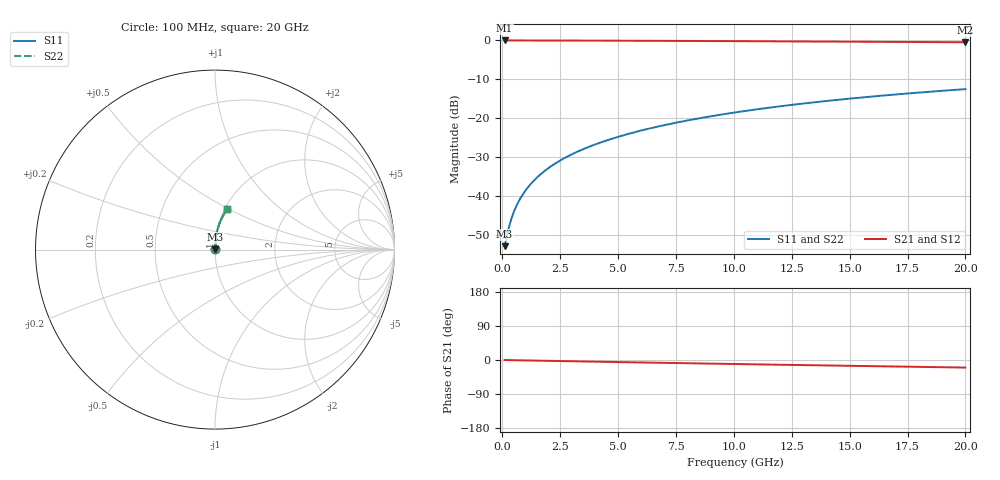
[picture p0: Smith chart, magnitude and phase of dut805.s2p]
! Touchstone file exported from HFSS 2024.1.0
!  File:  C:/UserFiles/LocalFiles/RDL_TSV_Batchsim/temp_RDL_bottom_805_1779862114.aedt
!  Generated:  02:11:19 PM May 27, 2026
!  Design:  RDL_bottom
!  Project:  temp_RDL_bottom_805_1779862114
!  Setup:  Setup1
!  Solution:  Sweep
! Variables:
!  dtsv = 10.80580581um
!  hbump = 3um
!  htsv = 86.69um
!  ldown = 234.14um
!  lrdl = 100um
!  p = 40
!  p1 = 47.38um
!  rhole = 1um
!  t = 450um
!  tdown = 2.91um
!  trdl = 3.915915916um
!  wdown = 17.18um
!  wrdl = 20um
# GHz S MA R 50.000000
! Terminal data exported
! Port[1] = RDL1_T1
! Port[2] = RDL1_T2
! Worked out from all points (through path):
!   200 points, 100 MHz to 20 GHz, reference 50 ohm
!   highest |S21| = -0.02 dB at 100 MHz (marker M1); lowest = -0.5 dB at 20 GHz (marker M2)
!   group delay of S21, straight-line fit = 2.76 ps
!   lowest |S11| = -53.0 dB at 100 MHz (marker M3), VSWR 1.00, Z = 50.2 + j0.12 ohm
!   |S11| at or under -10 dB: start of sweep to end of sweep
!   |S22| runs from -53.0 to -12.6 dB; largest |S21 - S12| = 2.7e-15
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0.1  0.002239 32.4  0.9981 -0.1  0.9981 -0.1  0.002239 32.4
! Gamma 0 0 0 0
! Port Impedance 50 0 50 0
0.2  0.003067 51.0  0.9981 -0.2  0.9981 -0.2  0.003067 51.0
0.3  0.004066 60.8  0.998 -0.3  0.998 -0.3  0.004066 60.8
0.4  0.005122 66.6  0.9979 -0.5  0.9979 -0.5  0.005122 66.6
0.5  0.006197 70.3  0.9979 -0.6  0.9979 -0.6  0.006197 70.3
0.6  0.00728 72.9  0.9978 -0.7  0.9978 -0.7  0.00728 72.9
0.8  0.009455 76.4  0.9976 -0.9  0.9976 -0.9  0.009455 76.4
1.1  0.01274 79.5  0.9974 -1.2  0.9974 -1.2  0.01274 79.5
1.3  0.01495 80.8  0.9973 -1.5  0.9973 -1.5  0.01495 80.8
1.6  0.01828 82.2  0.997 -1.8  0.997 -1.8  0.01828 82.2
2.1  0.02388 83.7  0.9965 -2.3  0.9965 -2.3  0.02388 83.7
2.7  0.03066 84.7  0.9958 -3.0  0.9958 -3.0  0.03066 84.6
3.5  0.03981 85.3  0.9946 -3.9  0.9946 -3.9  0.03981 85.3
4.2  0.04791 85.4  0.9933 -4.6  0.9933 -4.6  0.0479 85.4
5  0.05726 85.4  0.9916 -5.5  0.9916 -5.5  0.05726 85.4
5.9  0.06791 85.2  0.9896 -6.4  0.9896 -6.4  0.06791 85.2
6.8  0.07866 84.8  0.9873 -7.4  0.9873 -7.4  0.07866 84.7
8.3  0.09676 83.8  0.9833 -8.9  0.9833 -8.9  0.09676 83.8
10.1  0.1186 82.4  0.9781 -10.7  0.9781 -10.7  0.1186 82.4
13.4  0.1586 79.5  0.968 -13.9  0.968 -13.9  0.1586 79.5
16.7  0.1978 76.3  0.9573 -17.0  0.9573 -17.0  0.1978 76.3
20  0.2357 73.1  0.946 -20.0  0.946 -20.0  0.2357 73.1
